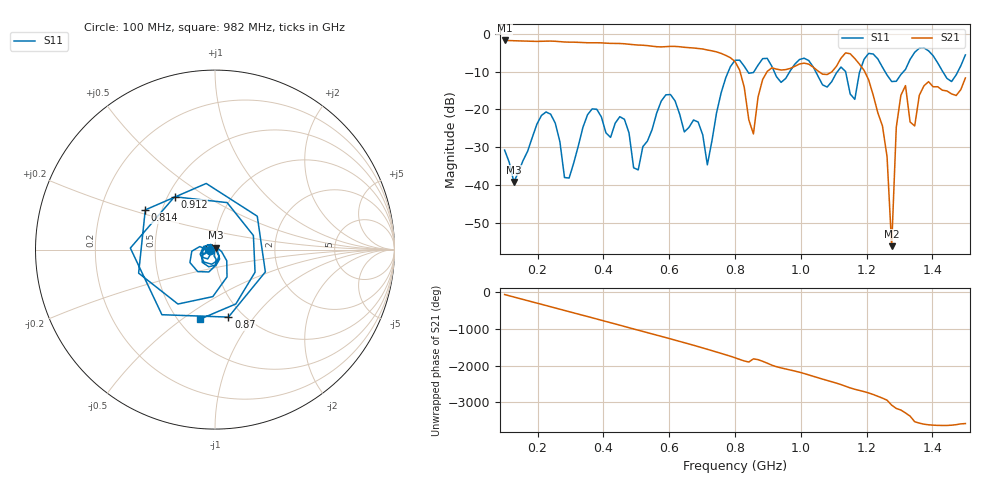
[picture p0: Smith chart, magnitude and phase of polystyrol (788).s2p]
! NanoVNA-App
! Date: 2025-09-25 15:36:01
! Start: 100MHz Stop: 1,5GHz Points: 101
! S-Parameter data: F S11 S21 S12 S22
# Hz S RI R 50
!  Frequency  S11_Real  S11_Imag  S21_Real  S21_Imag  S12_Real  S12_Imag  S22_Real  S22_Imag
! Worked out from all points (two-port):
!   101 points, 100 MHz to 1.5 GHz, reference 50 ohm
!   highest |S21| = -1.80 dB at 100 MHz (marker M1); lowest = -56.1 dB at 1.276 GHz (marker M2)
!   |S21| within 3 dB of the highest: start of sweep to 743.3 MHz
!   lowest |S11| = -39.1 dB at 128 MHz (marker M3), VSWR 1.02, Z = 50.3 + j1.06 ohm
!   |S11| at or under -10 dB: start of sweep to 779.8 MHz; 1.045 GHz to 1.111 GHz (66.48 MHz wide, 6.17 % of centre); 1.256 GHz to 1.312 GHz (56.43 MHz wide, 4.4 % of centre) (the widest 3 of 7)
!   S12 and S22 are empty: the file has one direction only
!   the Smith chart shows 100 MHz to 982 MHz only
!   S11 on the Smith chart (normalised r, x): 100 MHz: 0.94, -0.01; 814 MHz: 0.40, +0.22; 870 MHz: 0.86, -0.75; 912 MHz: 0.54, +0.37; 982 MHz: 0.64, -0.58
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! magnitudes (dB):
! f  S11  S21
! 100 MHz  -30.7  -1.8
! 128 MHz  -39.1  -1.9
! 212 MHz  -21.6  -2.0
! 282 MHz  -38.0  -2.2
! 338 MHz  -24.7  -2.4
! 506 MHz  -35.9  -3.0
! 576 MHz  -17.8  -3.5
! 716 MHz  -34.6  -4.3
! 800 MHz  -7.0  -7.4
! 814 MHz  -7.0  -9.6
! 856 MHz  -10.3  -26.5
! 870 MHz  -8.3  -16.7
! 912 MHz  -8.6  -9.0
! 982 MHz  -8.0  -8.6
! 1.038 GHz  -8.8  -8.9
! 1.164 GHz  -17.3  -6.6
! 1.206 GHz  -5.2  -12.2
! 1.262 GHz  -10.9  -32.5
! 1.276 GHz  -12.6  -56.1
! 1.29 GHz  -12.6  -24.7
! 1.304 GHz  -10.8  -16.3
! 1.5 GHz  -5.6  -11.7
